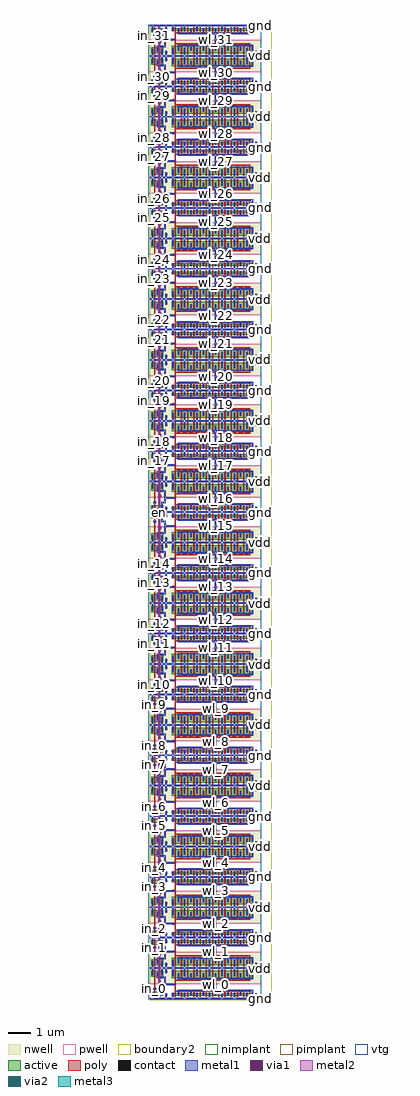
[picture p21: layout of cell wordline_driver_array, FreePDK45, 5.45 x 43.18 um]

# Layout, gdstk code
import gdstk
lib = gdstk.Library(unit=1e-6, precision=5e-10)
def R(c, l, rs):  # rectangles x0, y0, x1, y1
    for r in rs: c.add(gdstk.rectangle(r[:2], r[2:], *l))
def A(c, l, x, y, w, h, nx, ny, dx, dy):  # array of equal rectangles
    R(c, l, [(x+i*dx, y+j*dy, x+i*dx+w, y+j*dy+h) for i in range(nx) for j in range(ny)])
active = (1, 0)
pwell = (2, 0)
nwell = (3, 0)
nimplant = (4, 0)
pimplant = (5, 0)
vtg = (6, 0)
poly = (9, 0)
contact = (10, 0)
metal1 = (11, 0)
via1 = (12, 0)
metal2 = (13, 0)
via2 = (14, 0)
metal3 = (15, 0)
boundary2 = (239, 0)

contact_9 = lib.new_cell('contact_9')
R(contact_9, active, [(0,0.0225,0.09,0.1125)])
R(contact_9, nwell, [(-0.055,-0.0325,0.145,0.1675)])
R(contact_9, pimplant, [(0,0.0225,0.09,0.1125)])
R(contact_9, contact, [(0.0125,0.035,0.0775,0.1)])
R(contact_9, metal1, [(0.0125,0,0.0775,0.135)])
R(contact_9, boundary2, [(-0.055,-0.0325,0.145,0.1675)])

pmos_m1_w0_270_sm1_dm1 = lib.new_cell('pmos_m1_w0_270_sm1_dm1')
R(pmos_m1_w0_270_sm1_dm1, active, [(0,0,0.305,0.27)])
R(pmos_m1_w0_270_sm1_dm1, nwell, [(-0.08,-0.08,0.385,0.35)])
R(pmos_m1_w0_270_sm1_dm1, pimplant, [(0,0,0.305,0.27)])
R(pmos_m1_w0_270_sm1_dm1, vtg, [(-0.08,-0.08,0.385,0.35)])
R(pmos_m1_w0_270_sm1_dm1, poly, [(0.1275,-0.055,0.1775,0.325), (0.1275,-0.055,0.1775,0.325)])
R(pmos_m1_w0_270_sm1_dm1, metal1, [(0.0125,0.0675,0.0775,0.2025), (0.2275,0.0675,0.2925,0.2025)])
R(pmos_m1_w0_270_sm1_dm1, boundary2, [(-0.08,-0.08,0.385,0.35)])
pmos_m1_w0_270_sm1_dm1.add(gdstk.Reference(contact_9, (0,0.0675)))
pmos_m1_w0_270_sm1_dm1.add(gdstk.Reference(contact_9, (0.215,0.0675)))
pmos_m1_w0_270_sm1_dm1.add(gdstk.Label('G', (0.1525,0.135), layer=9, texttype=0))
pmos_m1_w0_270_sm1_dm1.add(gdstk.Label('S', (0.045,0.135), layer=11, texttype=0))
pmos_m1_w0_270_sm1_dm1.add(gdstk.Label('D', (0.26,0.135), layer=11, texttype=0))

contact_14 = lib.new_cell('contact_14')
R(contact_14, active, [(0,0.0225,0.09,0.1125)])
R(contact_14, pwell, [(-0.055,-0.0325,0.145,0.1675)])
R(contact_14, nimplant, [(0,0.0225,0.09,0.1125)])
R(contact_14, contact, [(0.0125,0.035,0.0775,0.1)])
R(contact_14, metal1, [(0.0125,0,0.0775,0.135)])
R(contact_14, boundary2, [(-0.055,-0.0325,0.145,0.1675)])

nmos_m1_w0_180_sm1_dacti = lib.new_cell('nmos_m1_w0_180_sm1_dactive')
R(nmos_m1_w0_180_sm1_dacti, active, [(0,0,0.305,0.18), (0.215,0.045,0.305,0.135)])
R(nmos_m1_w0_180_sm1_dacti, pwell, [(-0.08,-0.08,0.385,0.26)])
R(nmos_m1_w0_180_sm1_dacti, nimplant, [(0,0,0.305,0.18)])
R(nmos_m1_w0_180_sm1_dacti, vtg, [(-0.08,-0.08,0.385,0.26)])
R(nmos_m1_w0_180_sm1_dacti, poly, [(0.1275,-0.055,0.1775,0.235), (0.1275,-0.055,0.1775,0.235)])
R(nmos_m1_w0_180_sm1_dacti, metal1, [(0.0125,0.0225,0.0775,0.1575)])
R(nmos_m1_w0_180_sm1_dacti, boundary2, [(-0.08,-0.08,0.385,0.26)])
nmos_m1_w0_180_sm1_dacti.add(gdstk.Reference(contact_14, (0,0.0225)))
nmos_m1_w0_180_sm1_dacti.add(gdstk.Label('G', (0.1525,0.09), layer=9, texttype=0))
nmos_m1_w0_180_sm1_dacti.add(gdstk.Label('S', (0.045,0.09), layer=11, texttype=0))
nmos_m1_w0_180_sm1_dacti.add(gdstk.Label('D', (0.26,0.09), layer=1, texttype=0))

nmos_m1_w0_180_sactive_d = lib.new_cell('nmos_m1_w0_180_sactive_dm1')
R(nmos_m1_w0_180_sactive_d, active, [(0,0,0.305,0.18), (0,0.045,0.09,0.135)])
R(nmos_m1_w0_180_sactive_d, pwell, [(-0.08,-0.08,0.385,0.26)])
R(nmos_m1_w0_180_sactive_d, nimplant, [(0,0,0.305,0.18)])
R(nmos_m1_w0_180_sactive_d, vtg, [(-0.08,-0.08,0.385,0.26)])
R(nmos_m1_w0_180_sactive_d, poly, [(0.1275,-0.055,0.1775,0.235), (0.1275,-0.055,0.1775,0.235)])
R(nmos_m1_w0_180_sactive_d, metal1, [(0.2275,0.0225,0.2925,0.1575)])
R(nmos_m1_w0_180_sactive_d, boundary2, [(-0.08,-0.08,0.385,0.26)])
nmos_m1_w0_180_sactive_d.add(gdstk.Reference(contact_14, (0.215,0.0225)))
nmos_m1_w0_180_sactive_d.add(gdstk.Label('G', (0.1525,0.09), layer=9, texttype=0))
nmos_m1_w0_180_sactive_d.add(gdstk.Label('S', (0.045,0.09), layer=1, texttype=0))
nmos_m1_w0_180_sactive_d.add(gdstk.Label('D', (0.26,0.09), layer=11, texttype=0))

contact_18 = lib.new_cell('contact_18')
R(contact_18, active, [(0,0.0225,0.09,0.1125)])
R(contact_18, nwell, [(-0.055,-0.0325,0.145,0.1675)])
R(contact_18, nimplant, [(0,0.0225,0.09,0.1125)])
R(contact_18, contact, [(0.0125,0.035,0.0775,0.1)])
R(contact_18, metal1, [(0.0125,0,0.0775,0.135)])
R(contact_18, boundary2, [(-0.055,-0.0325,0.145,0.1675)])

contact_19 = lib.new_cell('contact_19')
R(contact_19, active, [(0,0.0225,0.09,0.1125)])
R(contact_19, pwell, [(-0.055,-0.0325,0.145,0.1675)])
R(contact_19, pimplant, [(0,0.0225,0.09,0.1125)])
R(contact_19, contact, [(0.0125,0.035,0.0775,0.1)])
R(contact_19, metal1, [(0.0125,0,0.0775,0.135)])
R(contact_19, boundary2, [(-0.055,-0.0325,0.145,0.1675)])

contact_10 = lib.new_cell('contact_10')
R(contact_10, poly, [(0.03,0,0.105,0.075)])
R(contact_10, contact, [(0.035,0.005,0.1,0.07)])
R(contact_10, metal1, [(0,0.005,0.135,0.07)])
R(contact_10, boundary2, [(0,0,0.135,0.075)])

pnand2 = lib.new_cell('pnand2')
R(pnand2, pwell, [(-0.055,-0.0325,0.9575,0.645)])
R(pnand2, nwell, [(-0.055,0.645,0.9575,1.38)])
R(pnand2, vtg, [(-0.055,-0.0325,0.9575,0.645), (-0.055,0.645,0.9575,1.38)])
R(pnand2, poly, [(0.2075,0.36,0.2575,0.895), (0.4225,0.36,0.4725,0.895), (0.2075,0.39,0.2325,0.465), (0.4225,0.67,0.4475,0.745)])
R(pnand2, metal1, [(0,-0.0325,0.9025,0.0325), (0.0925,-0.0325,0.1575,0.1475), (0.6925,0,0.7575,0.17), (0.5225,0.2825,0.5875,0.4125), (0.5225,0.38,0.5875,0.445), (0.555,0.38,0.685,0.445), (0.6525,0.38,0.7175,0.445), (0.165,0.395,0.3,0.46), (0.6525,0.4125,0.7175,0.92), (0.38,0.675,0.515,0.74), (0.3075,0.8875,0.3725,0.9525), (0.34,0.8875,0.685,0.9525), (0.6525,0.8875,0.7175,0.9525), (0.3075,0.92,0.3725,1.0175), (0.0925,1.0175,0.1575,1.3775), (0.5225,1.0175,0.5875,1.3775), (0.6925,1.175,0.7575,1.345), (0,1.3125,0.9025,1.3775)])
R(pnand2, boundary2, [(0,0,0.9025,1.345), (0,0,0.9025,1.345)])
pnand2.add(gdstk.Reference(pmos_m1_w0_270_sm1_dm1, (0.08,0.95)))
pnand2.add(gdstk.Reference(pmos_m1_w0_270_sm1_dm1, (0.295,0.95)))
pnand2.add(gdstk.Reference(nmos_m1_w0_180_sm1_dacti, (0.08,0.125)))
pnand2.add(gdstk.Reference(nmos_m1_w0_180_sactive_d, (0.295,0.125)))
pnand2.add(gdstk.Reference(contact_18, (0.68,1.1075)))
pnand2.add(gdstk.Reference(contact_19, (0.68,0.1025)))
pnand2.add(gdstk.Reference(contact_10, (0.165,0.39)))
pnand2.add(gdstk.Reference(contact_10, (0.38,0.67)))
pnand2.add(gdstk.Label('Z', (0.685,0.92), layer=11, texttype=0))
pnand2.add(gdstk.Label('gnd', (0.451,0), layer=11, texttype=0))
pnand2.add(gdstk.Label('vdd', (0.451,1.345), layer=11, texttype=0))
pnand2.add(gdstk.Label('A', (0.2325,0.4275), layer=11, texttype=0))
pnand2.add(gdstk.Label('B', (0.4475,0.7075), layer=11, texttype=0))

pmos_m13_w0_333_sm1_dm1_ = lib.new_cell('pmos_m13_w0_333_sm1_dm1_da_p')
R(pmos_m13_w0_333_sm1_dm1_, active, [(0,0,3.605,0.3325)])
R(pmos_m13_w0_333_sm1_dm1_, nwell, [(-0.08,-0.08,3.685,0.4125)])
R(pmos_m13_w0_333_sm1_dm1_, pimplant, [(0,0,3.605,0.3325)])
R(pmos_m13_w0_333_sm1_dm1_, vtg, [(-0.08,-0.08,3.685,0.4125)])
A(pmos_m13_w0_333_sm1_dm1_, poly, 0.1275, -0.055, 0.05, 0.4425, 13, 1, 0.275, 0)
R(pmos_m13_w0_333_sm1_dm1_, poly, [(0.1275,-0.105,3.4775,-0.055)])
A(pmos_m13_w0_333_sm1_dm1_, metal1, 0.2575, 0, 0.065, 0.165, 6, 1, 0.55, 0)
A(pmos_m13_w0_333_sm1_dm1_, metal1, 0.5325, 0.1, 0.065, 0.135, 6, 1, 0.55, 0)
R(pmos_m13_w0_333_sm1_dm1_, metal1, [(0.2575,-0.03,3.5925,0.035), (3.5275,0,3.5925,0.165), (0.0125,0.1,0.0775,0.235)])
R(pmos_m13_w0_333_sm1_dm1_, boundary2, [(-0.08,-0.08,3.685,0.4125)])
pmos_m13_w0_333_sm1_dm1_.add(gdstk.Reference(contact_9, (0,0.1)))
pmos_m13_w0_333_sm1_dm1_.add(gdstk.Reference(contact_9, (0.245,0.1)))
pmos_m13_w0_333_sm1_dm1_.add(gdstk.Reference(contact_9, (0.52,0.1)))
pmos_m13_w0_333_sm1_dm1_.add(gdstk.Reference(contact_9, (0.795,0.1)))
pmos_m13_w0_333_sm1_dm1_.add(gdstk.Reference(contact_9, (1.07,0.1)))
pmos_m13_w0_333_sm1_dm1_.add(gdstk.Reference(contact_9, (1.345,0.1)))
pmos_m13_w0_333_sm1_dm1_.add(gdstk.Reference(contact_9, (1.62,0.1)))
pmos_m13_w0_333_sm1_dm1_.add(gdstk.Reference(contact_9, (1.895,0.1)))
pmos_m13_w0_333_sm1_dm1_.add(gdstk.Reference(contact_9, (2.17,0.1)))
pmos_m13_w0_333_sm1_dm1_.add(gdstk.Reference(contact_9, (2.445,0.1)))
pmos_m13_w0_333_sm1_dm1_.add(gdstk.Reference(contact_9, (2.72,0.1)))
pmos_m13_w0_333_sm1_dm1_.add(gdstk.Reference(contact_9, (2.995,0.1)))
pmos_m13_w0_333_sm1_dm1_.add(gdstk.Reference(contact_9, (3.27,0.1)))
pmos_m13_w0_333_sm1_dm1_.add(gdstk.Reference(contact_9, (3.515,0.1)))
pmos_m13_w0_333_sm1_dm1_.add(gdstk.Label('G', (1.8025,-0.08), layer=9, texttype=0))
pmos_m13_w0_333_sm1_dm1_.add(gdstk.Label('S', (0.045,0.1675), layer=11, texttype=0))
pmos_m13_w0_333_sm1_dm1_.add(gdstk.Label('S', (1.665,0.1675), layer=11, texttype=0))
pmos_m13_w0_333_sm1_dm1_.add(gdstk.Label('S', (2.765,0.1675), layer=11, texttype=0))
pmos_m13_w0_333_sm1_dm1_.add(gdstk.Label('S', (2.215,0.1675), layer=11, texttype=0))
pmos_m13_w0_333_sm1_dm1_.add(gdstk.Label('S', (0.565,0.1675), layer=11, texttype=0))
pmos_m13_w0_333_sm1_dm1_.add(gdstk.Label('S', (1.115,0.1675), layer=11, texttype=0))
pmos_m13_w0_333_sm1_dm1_.add(gdstk.Label('S', (3.315,0.1675), layer=11, texttype=0))
pmos_m13_w0_333_sm1_dm1_.add(gdstk.Label('D', (1.925,0.0025), layer=11, texttype=0))

nmos_m13_w0_110_sm1_dm1_ = lib.new_cell('nmos_m13_w0_110_sm1_dm1_da_p')
R(nmos_m13_w0_110_sm1_dm1_, active, [(0,0,3.605,0.11)])
R(nmos_m13_w0_110_sm1_dm1_, pwell, [(-0.08,-0.08,3.685,0.19)])
R(nmos_m13_w0_110_sm1_dm1_, nimplant, [(0,0,3.605,0.11)])
R(nmos_m13_w0_110_sm1_dm1_, vtg, [(-0.08,-0.08,3.685,0.19)])
A(nmos_m13_w0_110_sm1_dm1_, poly, 0.1275, -0.055, 0.05, 0.22, 13, 1, 0.275, 0)
R(nmos_m13_w0_110_sm1_dm1_, poly, [(0.1275,0.165,3.4775,0.215)])
A(nmos_m13_w0_110_sm1_dm1_, metal1, 0.5325, -0.0125, 0.065, 0.135, 6, 1, 0.55, 0)
A(nmos_m13_w0_110_sm1_dm1_, metal1, 0.2575, 0.055, 0.065, 0.165, 6, 1, 0.55, 0)
R(nmos_m13_w0_110_sm1_dm1_, metal1, [(0.0125,-0.0125,0.0775,0.1225), (3.5275,0.055,3.5925,0.22), (0.2575,0.1875,3.5925,0.2525)])
R(nmos_m13_w0_110_sm1_dm1_, boundary2, [(-0.08,-0.08,3.685,0.22)])
nmos_m13_w0_110_sm1_dm1_.add(gdstk.Reference(contact_14, (0,-0.0125)))
nmos_m13_w0_110_sm1_dm1_.add(gdstk.Reference(contact_14, (0.245,-0.0125)))
nmos_m13_w0_110_sm1_dm1_.add(gdstk.Reference(contact_14, (0.52,-0.0125)))
nmos_m13_w0_110_sm1_dm1_.add(gdstk.Reference(contact_14, (0.795,-0.0125)))
nmos_m13_w0_110_sm1_dm1_.add(gdstk.Reference(contact_14, (1.07,-0.0125)))
nmos_m13_w0_110_sm1_dm1_.add(gdstk.Reference(contact_14, (1.345,-0.0125)))
nmos_m13_w0_110_sm1_dm1_.add(gdstk.Reference(contact_14, (1.62,-0.0125)))
nmos_m13_w0_110_sm1_dm1_.add(gdstk.Reference(contact_14, (1.895,-0.0125)))
nmos_m13_w0_110_sm1_dm1_.add(gdstk.Reference(contact_14, (2.17,-0.0125)))
nmos_m13_w0_110_sm1_dm1_.add(gdstk.Reference(contact_14, (2.445,-0.0125)))
nmos_m13_w0_110_sm1_dm1_.add(gdstk.Reference(contact_14, (2.72,-0.0125)))
nmos_m13_w0_110_sm1_dm1_.add(gdstk.Reference(contact_14, (2.995,-0.0125)))
nmos_m13_w0_110_sm1_dm1_.add(gdstk.Reference(contact_14, (3.27,-0.0125)))
nmos_m13_w0_110_sm1_dm1_.add(gdstk.Reference(contact_14, (3.515,-0.0125)))
nmos_m13_w0_110_sm1_dm1_.add(gdstk.Label('G', (1.8025,0.19), layer=9, texttype=0))
nmos_m13_w0_110_sm1_dm1_.add(gdstk.Label('S', (2.215,0.055), layer=11, texttype=0))
nmos_m13_w0_110_sm1_dm1_.add(gdstk.Label('S', (3.315,0.055), layer=11, texttype=0))
nmos_m13_w0_110_sm1_dm1_.add(gdstk.Label('S', (1.115,0.055), layer=11, texttype=0))
nmos_m13_w0_110_sm1_dm1_.add(gdstk.Label('S', (0.565,0.055), layer=11, texttype=0))
nmos_m13_w0_110_sm1_dm1_.add(gdstk.Label('S', (2.765,0.055), layer=11, texttype=0))
nmos_m13_w0_110_sm1_dm1_.add(gdstk.Label('S', (0.045,0.055), layer=11, texttype=0))
nmos_m13_w0_110_sm1_dm1_.add(gdstk.Label('S', (1.665,0.055), layer=11, texttype=0))
nmos_m13_w0_110_sm1_dm1_.add(gdstk.Label('D', (1.925,0.22), layer=11, texttype=0))

pinv_0 = lib.new_cell('pinv_0')
R(pinv_0, pwell, [(-0.055,-0.0325,4.0425,0.645)])
R(pinv_0, nwell, [(-0.055,0.645,4.0425,1.38)])
R(pinv_0, vtg, [(-0.055,-0.0325,4.0425,0.645), (-0.055,0.645,4.0425,1.38)])
R(pinv_0, poly, [(0.2075,0.34,0.2575,0.7825), (0.14,0.58,0.2075,0.655)])
A(pinv_0, metal1, 0.6125, -0.0325, 0.065, 0.145, 6, 1, 0.55, 0)
A(pinv_0, metal1, 0.6125, 0.9875, 0.065, 0.39, 6, 1, 0.55, 0)
R(pinv_0, metal1, [(0,-0.0325,3.9875,0.0325), (0.0925,-0.0325,0.1575,0.1125), (3.7775,0,3.8425,0.17), (1.9725,0.3125,2.0375,0.9225), (0.0725,0.585,0.2075,0.65), (2.005,0.585,2.07,0.65), (0.0925,0.9875,0.1575,1.3775), (3.7775,1.175,3.8425,1.345), (0,1.3125,3.9875,1.3775)])
R(pinv_0, boundary2, [(0,0,3.9875,1.345), (0,0,3.9875,1.345)])
pinv_0.add(gdstk.Reference(pmos_m13_w0_333_sm1_dm1_, (0.08,0.8875)))
pinv_0.add(gdstk.Reference(nmos_m13_w0_110_sm1_dm1_, (0.08,0.125)))
pinv_0.add(gdstk.Reference(contact_18, (3.765,1.1075)))
pinv_0.add(gdstk.Reference(contact_19, (3.765,0.1025)))
pinv_0.add(gdstk.Reference(contact_10, (0.0725,0.58)))
pinv_0.add(gdstk.Label('A', (0.14,0.6175), layer=11, texttype=0))
pinv_0.add(gdstk.Label('Z', (2.0375,0.6175), layer=11, texttype=0))
pinv_0.add(gdstk.Label('gnd', (1.994,0), layer=11, texttype=0))
pinv_0.add(gdstk.Label('vdd', (1.994,1.345), layer=11, texttype=0))

wordline_driver = lib.new_cell('wordline_driver')
R(wordline_driver, metal1, [(0,-0.0325,4.89,0.0325), (0.165,0.395,0.3,0.46), (0.6525,0.585,0.7175,0.65), (0.685,0.585,1.0425,0.65), (2.9075,0.585,2.9725,0.65), (0.6525,0.6175,0.7175,0.92), (0.38,0.675,0.515,0.74), (0,1.3125,4.89,1.3775)])
R(wordline_driver, boundary2, [(0,0,4.89,1.345)])
wordline_driver.add(gdstk.Reference(pnand2, (0,0)))
wordline_driver.add(gdstk.Reference(pinv_0, (0.9025,0)))
wordline_driver.add(gdstk.Label('Z', (2.94,0.6175), layer=11, texttype=0))
wordline_driver.add(gdstk.Label('A', (0.2325,0.4275), layer=11, texttype=0))
wordline_driver.add(gdstk.Label('B', (0.4475,0.7075), layer=11, texttype=0))
wordline_driver.add(gdstk.Label('gnd', (2.445,0), layer=11, texttype=0))
wordline_driver.add(gdstk.Label('vdd', (2.445,1.345), layer=11, texttype=0))

contact_6 = lib.new_cell('contact_6')
R(contact_6, metal1, [(0,0.035,0.135,0.1)])
R(contact_6, via1, [(0.035,0.035,0.1,0.1)])
R(contact_6, metal2, [(0.0325,0,0.1025,0.135)])
R(contact_6, boundary2, [(0,0,0.135,0.135)])

contact_7 = lib.new_cell('contact_7')
R(contact_7, metal2, [(0.0325,0,0.1025,0.135)])
R(contact_7, via2, [(0.035,0.035,0.1,0.1)])
R(contact_7, metal3, [(0,0.0325,0.135,0.1025)])
R(contact_7, boundary2, [(0,0,0.135,0.135)])

wordline_driver_array = lib.new_cell('wordline_driver_array')
R(wordline_driver_array, metal1, [(0.165,0.4625,0.3,0.5275), (2.9075,0.6525,2.9725,0.7175), (2.9075,2.1075,2.9725,2.1725), (0.165,2.2975,0.3,2.3625), (0.165,3.1525,0.3,3.2175), (2.9075,3.3425,2.9725,3.4075), (2.9075,4.7975,2.9725,4.8625), (0.165,4.9875,0.3,5.0525), (0.165,5.8425,0.3,5.9075), (2.9075,6.0325,2.9725,6.0975), (2.9075,7.4875,2.9725,7.5525), (0.165,7.6775,0.3,7.7425), (0.165,8.5325,0.3,8.5975), (2.9075,8.7225,2.9725,8.7875), (2.9075,10.1775,2.9725,10.2425), (0.165,10.3675,0.3,10.4325), (0.165,11.2225,0.3,11.2875), (2.9075,11.4125,2.9725,11.4775), (2.9075,12.8675,2.9725,12.9325), (0.165,13.0575,0.3,13.1225), (0.165,13.9125,0.3,13.9775), (2.9075,14.1025,2.9725,14.1675), (2.9075,15.5575,2.9725,15.6225), (0.165,15.7475,0.3,15.8125), (0.165,16.6025,0.3,16.6675), (2.9075,16.7925,2.9725,16.8575), (2.9075,18.2475,2.9725,18.3125), (0.165,18.4375,0.3,18.5025), (0.165,19.2925,0.3,19.3575), (2.9075,19.4825,2.9725,19.5475), (2.9075,20.9375,2.9725,21.0025), (0.165,21.1275,0.3,21.1925), (0.165,21.9825,0.3,22.0475), (2.9075,22.1725,2.9725,22.2375), (2.9075,23.6275,2.9725,23.6925), (0.165,23.8175,0.3,23.8825), (0.165,24.6725,0.3,24.7375), (2.9075,24.8625,2.9725,24.9275), (2.9075,26.3175,2.9725,26.3825), (0.165,26.5075,0.3,26.5725), (0.165,27.3625,0.3,27.4275), (2.9075,27.5525,2.9725,27.6175), (2.9075,29.0075,2.9725,29.0725), (0.165,29.1975,0.3,29.2625), (0.165,30.0525,0.3,30.1175), (2.9075,30.2425,2.9725,30.3075), (2.9075,31.6975,2.9725,31.7625), (0.165,31.8875,0.3,31.9525), (0.165,32.7425,0.3,32.8075), (2.9075,32.9325,2.9725,32.9975), (2.9075,34.3875,2.9725,34.4525), (0.165,34.5775,0.3,34.6425), (0.165,35.4325,0.3,35.4975), (2.9075,35.6225,2.9725,35.6875), (2.9075,37.0775,2.9725,37.1425), (0.165,37.2675,0.3,37.3325), (0.165,38.1225,0.3,38.1875), (2.9075,38.3125,2.9725,38.3775), (2.9075,39.7675,2.9725,39.8325), (0.165,39.9575,0.3,40.0225), (0.165,40.8125,0.3,40.8775), (2.9075,41.0025,2.9725,41.0675), (2.9075,42.4575,2.9725,42.5225), (0.165,42.6475,0.3,42.7125)])
R(wordline_driver_array, metal2, [(0.38,0.0675,0.45,43.1075)])
A(wordline_driver_array, metal3, 4.8225, 0, 0.135, 0.135, 1, 6, 0, 1.345)
A(wordline_driver_array, metal3, 4.8225, 6.725, 0.135, 0.135, 1, 11, 0, 1.345)
A(wordline_driver_array, metal3, 4.8225, 20.175, 0.135, 0.135, 1, 7, 0, 1.345)
A(wordline_driver_array, metal3, 4.8225, 28.245, 0.135, 0.135, 1, 7, 0, 1.345)
A(wordline_driver_array, metal3, 4.8225, 36.315, 0.135, 0.135, 1, 6, 0, 1.345)
R(wordline_driver_array, boundary2, [(0,0,5.395,43.04)])
wordline_driver_array.add(gdstk.Reference(wordline_driver, (0,0.0675)))
wordline_driver_array.add(gdstk.Reference(wordline_driver, (0,2.7575), x_reflection=True))
wordline_driver_array.add(gdstk.Reference(wordline_driver, (0,2.7575)))
wordline_driver_array.add(gdstk.Reference(wordline_driver, (0,5.4475), x_reflection=True))
wordline_driver_array.add(gdstk.Reference(wordline_driver, (0,5.4475)))
wordline_driver_array.add(gdstk.Reference(wordline_driver, (0,8.1375), x_reflection=True))
wordline_driver_array.add(gdstk.Reference(wordline_driver, (0,8.1375)))
wordline_driver_array.add(gdstk.Reference(wordline_driver, (0,10.8275), x_reflection=True))
wordline_driver_array.add(gdstk.Reference(wordline_driver, (0,10.8275)))
wordline_driver_array.add(gdstk.Reference(wordline_driver, (0,13.5175), x_reflection=True))
wordline_driver_array.add(gdstk.Reference(wordline_driver, (0,13.5175)))
wordline_driver_array.add(gdstk.Reference(wordline_driver, (0,16.2075), x_reflection=True))
wordline_driver_array.add(gdstk.Reference(wordline_driver, (0,16.2075)))
wordline_driver_array.add(gdstk.Reference(wordline_driver, (0,18.8975), x_reflection=True))
wordline_driver_array.add(gdstk.Reference(wordline_driver, (0,18.8975)))
wordline_driver_array.add(gdstk.Reference(wordline_driver, (0,21.5875), x_reflection=True))
wordline_driver_array.add(gdstk.Reference(wordline_driver, (0,21.5875)))
wordline_driver_array.add(gdstk.Reference(wordline_driver, (0,24.2775), x_reflection=True))
wordline_driver_array.add(gdstk.Reference(wordline_driver, (0,24.2775)))
wordline_driver_array.add(gdstk.Reference(wordline_driver, (0,26.9675), x_reflection=True))
wordline_driver_array.add(gdstk.Reference(wordline_driver, (0,26.9675)))
wordline_driver_array.add(gdstk.Reference(wordline_driver, (0,29.6575), x_reflection=True))
wordline_driver_array.add(gdstk.Reference(wordline_driver, (0,29.6575)))
wordline_driver_array.add(gdstk.Reference(wordline_driver, (0,32.3475), x_reflection=True))
wordline_driver_array.add(gdstk.Reference(wordline_driver, (0,32.3475)))
wordline_driver_array.add(gdstk.Reference(wordline_driver, (0,35.0375), x_reflection=True))
wordline_driver_array.add(gdstk.Reference(wordline_driver, (0,35.0375)))
wordline_driver_array.add(gdstk.Reference(wordline_driver, (0,37.7275), x_reflection=True))
wordline_driver_array.add(gdstk.Reference(wordline_driver, (0,37.7275)))
wordline_driver_array.add(gdstk.Reference(wordline_driver, (0,40.4175), x_reflection=True))
wordline_driver_array.add(gdstk.Reference(wordline_driver, (0,40.4175)))
wordline_driver_array.add(gdstk.Reference(wordline_driver, (0,43.1075), x_reflection=True))
wordline_driver_array.add(gdstk.Reference(contact_6, (0.38,0.7075)))
wordline_driver_array.add(gdstk.Reference(contact_6, (0.38,1.9825)))
wordline_driver_array.add(gdstk.Reference(contact_6, (0.38,3.3975)))
wordline_driver_array.add(gdstk.Reference(contact_6, (0.38,4.6725)))
wordline_driver_array.add(gdstk.Reference(contact_6, (0.38,6.0875)))
wordline_driver_array.add(gdstk.Reference(contact_6, (0.38,7.3625)))
wordline_driver_array.add(gdstk.Reference(contact_6, (0.38,8.7775)))
wordline_driver_array.add(gdstk.Reference(contact_6, (0.38,10.0525)))
wordline_driver_array.add(gdstk.Reference(contact_6, (0.38,11.4675)))
wordline_driver_array.add(gdstk.Reference(contact_6, (0.38,12.7425)))
wordline_driver_array.add(gdstk.Reference(contact_6, (0.38,14.1575)))
wordline_driver_array.add(gdstk.Reference(contact_6, (0.38,15.4325)))
wordline_driver_array.add(gdstk.Reference(contact_6, (0.38,16.8475)))
wordline_driver_array.add(gdstk.Reference(contact_6, (0.38,18.1225)))
wordline_driver_array.add(gdstk.Reference(contact_6, (0.38,19.5375)))
wordline_driver_array.add(gdstk.Reference(contact_6, (0.38,20.8125)))
wordline_driver_array.add(gdstk.Reference(contact_6, (0.38,22.2275)))
wordline_driver_array.add(gdstk.Reference(contact_6, (0.38,23.5025)))
wordline_driver_array.add(gdstk.Reference(contact_6, (0.38,24.9175)))
wordline_driver_array.add(gdstk.Reference(contact_6, (0.38,26.1925)))
wordline_driver_array.add(gdstk.Reference(contact_6, (0.38,27.6075)))
wordline_driver_array.add(gdstk.Reference(contact_6, (0.38,28.8825)))
wordline_driver_array.add(gdstk.Reference(contact_6, (0.38,30.2975)))
wordline_driver_array.add(gdstk.Reference(contact_6, (0.38,31.5725)))
wordline_driver_array.add(gdstk.Reference(contact_6, (0.38,32.9875)))
wordline_driver_array.add(gdstk.Reference(contact_6, (0.38,34.2625)))
wordline_driver_array.add(gdstk.Reference(contact_6, (0.38,35.6775)))
wordline_driver_array.add(gdstk.Reference(contact_6, (0.38,36.9525)))
wordline_driver_array.add(gdstk.Reference(contact_6, (0.38,38.3675)))
wordline_driver_array.add(gdstk.Reference(contact_6, (0.38,39.6425)))
wordline_driver_array.add(gdstk.Reference(contact_6, (0.38,41.0575)))
wordline_driver_array.add(gdstk.Reference(contact_6, (0.38,42.3325)))
wordline_driver_array.add(gdstk.Reference(contact_6, (4.8225,1.345)))
wordline_driver_array.add(gdstk.Reference(contact_7, (4.8225,1.345)))
wordline_driver_array.add(gdstk.Reference(contact_6, (4.8225,0)))
wordline_driver_array.add(gdstk.Reference(contact_7, (4.8225,0)))
wordline_driver_array.add(gdstk.Reference(contact_6, (4.8225,1.345)))
wordline_driver_array.add(gdstk.Reference(contact_7, (4.8225,1.345)))
wordline_driver_array.add(gdstk.Reference(contact_6, (4.8225,2.69)))
wordline_driver_array.add(gdstk.Reference(contact_7, (4.8225,2.69)))
wordline_driver_array.add(gdstk.Reference(contact_6, (4.8225,4.035)))
wordline_driver_array.add(gdstk.Reference(contact_7, (4.8225,4.035)))
wordline_driver_array.add(gdstk.Reference(contact_6, (4.8225,2.69)))
wordline_driver_array.add(gdstk.Reference(contact_7, (4.8225,2.69)))
wordline_driver_array.add(gdstk.Reference(contact_6, (4.8225,4.035)))
wordline_driver_array.add(gdstk.Reference(contact_7, (4.8225,4.035)))
wordline_driver_array.add(gdstk.Reference(contact_6, (4.8225,5.38)))
wordline_driver_array.add(gdstk.Reference(contact_7, (4.8225,5.38)))
wordline_driver_array.add(gdstk.Reference(contact_6, (4.8225,6.725)))
wordline_driver_array.add(gdstk.Reference(contact_7, (4.8225,6.725)))
wordline_driver_array.add(gdstk.Reference(contact_6, (4.8225,5.38)))
wordline_driver_array.add(gdstk.Reference(contact_7, (4.8225,5.38)))
wordline_driver_array.add(gdstk.Reference(contact_6, (4.8225,6.725)))
wordline_driver_array.add(gdstk.Reference(contact_7, (4.8225,6.725)))
wordline_driver_array.add(gdstk.Reference(contact_6, (4.8225,8.07)))
wordline_driver_array.add(gdstk.Reference(contact_7, (4.8225,8.07)))
wordline_driver_array.add(gdstk.Reference(contact_6, (4.8225,9.415)))
wordline_driver_array.add(gdstk.Reference(contact_7, (4.8225,9.415)))
wordline_driver_array.add(gdstk.Reference(contact_6, (4.8225,8.07)))
wordline_driver_array.add(gdstk.Reference(contact_7, (4.8225,8.07)))
wordline_driver_array.add(gdstk.Reference(contact_6, (4.8225,9.415)))
wordline_driver_array.add(gdstk.Reference(contact_7, (4.8225,9.415)))
wordline_driver_array.add(gdstk.Reference(contact_6, (4.8225,10.76)))
wordline_driver_array.add(gdstk.Reference(contact_7, (4.8225,10.76)))
wordline_driver_array.add(gdstk.Reference(contact_6, (4.8225,12.105)))
wordline_driver_array.add(gdstk.Reference(contact_7, (4.8225,12.105)))
wordline_driver_array.add(gdstk.Reference(contact_6, (4.8225,10.76)))
wordline_driver_array.add(gdstk.Reference(contact_7, (4.8225,10.76)))
wordline_driver_array.add(gdstk.Reference(contact_6, (4.8225,12.105)))
wordline_driver_array.add(gdstk.Reference(contact_7, (4.8225,12.105)))
wordline_driver_array.add(gdstk.Reference(contact_6, (4.8225,13.45)))
wordline_driver_array.add(gdstk.Reference(contact_7, (4.8225,13.45)))
wordline_driver_array.add(gdstk.Reference(contact_6, (4.8225,14.795)))
wordline_driver_array.add(gdstk.Reference(contact_7, (4.8225,14.795)))
wordline_driver_array.add(gdstk.Reference(contact_6, (4.8225,13.45)))
wordline_driver_array.add(gdstk.Reference(contact_7, (4.8225,13.45)))
wordline_driver_array.add(gdstk.Reference(contact_6, (4.8225,14.795)))
wordline_driver_array.add(gdstk.Reference(contact_7, (4.8225,14.795)))
wordline_driver_array.add(gdstk.Reference(contact_6, (4.8225,16.14)))
wordline_driver_array.add(gdstk.Reference(contact_7, (4.8225,16.14)))
wordline_driver_array.add(gdstk.Reference(contact_6, (4.8225,17.485)))
wordline_driver_array.add(gdstk.Reference(contact_7, (4.8225,17.485)))
wordline_driver_array.add(gdstk.Reference(contact_6, (4.8225,16.14)))
wordline_driver_array.add(gdstk.Reference(contact_7, (4.8225,16.14)))
wordline_driver_array.add(gdstk.Reference(contact_6, (4.8225,17.485)))
wordline_driver_array.add(gdstk.Reference(contact_7, (4.8225,17.485)))
wordline_driver_array.add(gdstk.Reference(contact_6, (4.8225,18.83)))
wordline_driver_array.add(gdstk.Reference(contact_7, (4.8225,18.83)))
wordline_driver_array.add(gdstk.Reference(contact_6, (4.8225,20.175)))
wordline_driver_array.add(gdstk.Reference(contact_7, (4.8225,20.175)))
wordline_driver_array.add(gdstk.Reference(contact_6, (4.8225,18.83)))
wordline_driver_array.add(gdstk.Reference(contact_7, (4.8225,18.83)))
wordline_driver_array.add(gdstk.Reference(contact_6, (4.8225,20.175)))
wordline_driver_array.add(gdstk.Reference(contact_7, (4.8225,20.175)))
wordline_driver_array.add(gdstk.Reference(contact_6, (4.8225,21.52)))
wordline_driver_array.add(gdstk.Reference(contact_7, (4.8225,21.52)))
wordline_driver_array.add(gdstk.Reference(contact_6, (4.8225,22.865)))
wordline_driver_array.add(gdstk.Reference(contact_7, (4.8225,22.865)))
wordline_driver_array.add(gdstk.Reference(contact_6, (4.8225,21.52)))
wordline_driver_array.add(gdstk.Reference(contact_7, (4.8225,21.52)))
wordline_driver_array.add(gdstk.Reference(contact_6, (4.8225,22.865)))
wordline_driver_array.add(gdstk.Reference(contact_7, (4.8225,22.865)))
wordline_driver_array.add(gdstk.Reference(contact_6, (4.8225,24.21)))
wordline_driver_array.add(gdstk.Reference(contact_7, (4.8225,24.21)))
wordline_driver_array.add(gdstk.Reference(contact_6, (4.8225,25.555)))
wordline_driver_array.add(gdstk.Reference(contact_7, (4.8225,25.555)))
wordline_driver_array.add(gdstk.Reference(contact_6, (4.8225,24.21)))
wordline_driver_array.add(gdstk.Reference(contact_7, (4.8225,24.21)))
wordline_driver_array.add(gdstk.Reference(contact_6, (4.8225,25.555)))
wordline_driver_array.add(gdstk.Reference(contact_7, (4.8225,25.555)))
wordline_driver_array.add(gdstk.Reference(contact_6, (4.8225,26.9)))
wordline_driver_array.add(gdstk.Reference(contact_7, (4.8225,26.9)))
wordline_driver_array.add(gdstk.Reference(contact_6, (4.8225,28.245)))
wordline_driver_array.add(gdstk.Reference(contact_7, (4.8225,28.245)))
wordline_driver_array.add(gdstk.Reference(contact_6, (4.8225,26.9)))
wordline_driver_array.add(gdstk.Reference(contact_7, (4.8225,26.9)))
wordline_driver_array.add(gdstk.Reference(contact_6, (4.8225,28.245)))
wordline_driver_array.add(gdstk.Reference(contact_7, (4.8225,28.245)))
wordline_driver_array.add(gdstk.Reference(contact_6, (4.8225,29.59)))
wordline_driver_array.add(gdstk.Reference(contact_7, (4.8225,29.59)))
wordline_driver_array.add(gdstk.Reference(contact_6, (4.8225,30.935)))
wordline_driver_array.add(gdstk.Reference(contact_7, (4.8225,30.935)))
wordline_driver_array.add(gdstk.Reference(contact_6, (4.8225,29.59)))
wordline_driver_array.add(gdstk.Reference(contact_7, (4.8225,29.59)))
wordline_driver_array.add(gdstk.Reference(contact_6, (4.8225,30.935)))
wordline_driver_array.add(gdstk.Reference(contact_7, (4.8225,30.935)))
wordline_driver_array.add(gdstk.Reference(contact_6, (4.8225,32.28)))
wordline_driver_array.add(gdstk.Reference(contact_7, (4.8225,32.28)))
wordline_driver_array.add(gdstk.Reference(contact_6, (4.8225,33.625)))
wordline_driver_array.add(gdstk.Reference(contact_7, (4.8225,33.625)))
wordline_driver_array.add(gdstk.Reference(contact_6, (4.8225,32.28)))
wordline_driver_array.add(gdstk.Reference(contact_7, (4.8225,32.28)))
wordline_driver_array.add(gdstk.Reference(contact_6, (4.8225,33.625)))
wordline_driver_array.add(gdstk.Reference(contact_7, (4.8225,33.625)))
wordline_driver_array.add(gdstk.Reference(contact_6, (4.8225,34.97)))
wordline_driver_array.add(gdstk.Reference(contact_7, (4.8225,34.97)))
wordline_driver_array.add(gdstk.Reference(contact_6, (4.8225,36.315)))
wordline_driver_array.add(gdstk.Reference(contact_7, (4.8225,36.315)))
wordline_driver_array.add(gdstk.Reference(contact_6, (4.8225,34.97)))
wordline_driver_array.add(gdstk.Reference(contact_7, (4.8225,34.97)))
wordline_driver_array.add(gdstk.Reference(contact_6, (4.8225,36.315)))
wordline_driver_array.add(gdstk.Reference(contact_7, (4.8225,36.315)))
wordline_driver_array.add(gdstk.Reference(contact_6, (4.8225,37.66)))
wordline_driver_array.add(gdstk.Reference(contact_7, (4.8225,37.66)))
wordline_driver_array.add(gdstk.Reference(contact_6, (4.8225,39.005)))
wordline_driver_array.add(gdstk.Reference(contact_7, (4.8225,39.005)))
wordline_driver_array.add(gdstk.Reference(contact_6, (4.8225,37.66)))
wordline_driver_array.add(gdstk.Reference(contact_7, (4.8225,37.66)))
wordline_driver_array.add(gdstk.Reference(contact_6, (4.8225,39.005)))
wordline_driver_array.add(gdstk.Reference(contact_7, (4.8225,39.005)))
wordline_driver_array.add(gdstk.Reference(contact_6, (4.8225,40.35)))
wordline_driver_array.add(gdstk.Reference(contact_7, (4.8225,40.35)))
wordline_driver_array.add(gdstk.Reference(contact_6, (4.8225,41.695)))
wordline_driver_array.add(gdstk.Reference(contact_7, (4.8225,41.695)))
wordline_driver_array.add(gdstk.Reference(contact_6, (4.8225,40.35)))
wordline_driver_array.add(gdstk.Reference(contact_7, (4.8225,40.35)))
wordline_driver_array.add(gdstk.Reference(contact_6, (4.8225,41.695)))
wordline_driver_array.add(gdstk.Reference(contact_7, (4.8225,41.695)))
wordline_driver_array.add(gdstk.Reference(contact_6, (4.8225,43.04)))
wordline_driver_array.add(gdstk.Reference(contact_7, (4.8225,43.04)))
wordline_driver_array.add(gdstk.Label('en', (0.415,21.5875), layer=13, texttype=0))
wordline_driver_array.add(gdstk.Label('in_0', (0.2325,0.495), layer=11, texttype=0))
wordline_driver_array.add(gdstk.Label('wl_0', (2.94,0.685), layer=11, texttype=0))
wordline_driver_array.add(gdstk.Label('in_1', (0.2325,2.33), layer=11, texttype=0))
wordline_driver_array.add(gdstk.Label('wl_1', (2.94,2.14), layer=11, texttype=0))
wordline_driver_array.add(gdstk.Label('in_2', (0.2325,3.185), layer=11, texttype=0))
wordline_driver_array.add(gdstk.Label('wl_2', (2.94,3.375), layer=11, texttype=0))
wordline_driver_array.add(gdstk.Label('in_3', (0.2325,5.02), layer=11, texttype=0))
wordline_driver_array.add(gdstk.Label('wl_3', (2.94,4.83), layer=11, texttype=0))
wordline_driver_array.add(gdstk.Label('in_4', (0.2325,5.875), layer=11, texttype=0))
wordline_driver_array.add(gdstk.Label('wl_4', (2.94,6.065), layer=11, texttype=0))
wordline_driver_array.add(gdstk.Label('in_5', (0.2325,7.71), layer=11, texttype=0))
wordline_driver_array.add(gdstk.Label('wl_5', (2.94,7.52), layer=11, texttype=0))
wordline_driver_array.add(gdstk.Label('in_6', (0.2325,8.565), layer=11, texttype=0))
wordline_driver_array.add(gdstk.Label('wl_6', (2.94,8.755), layer=11, texttype=0))
wordline_driver_array.add(gdstk.Label('in_7', (0.2325,10.4), layer=11, texttype=0))
wordline_driver_array.add(gdstk.Label('wl_7', (2.94,10.21), layer=11, texttype=0))
wordline_driver_array.add(gdstk.Label('in_8', (0.2325,11.255), layer=11, texttype=0))
wordline_driver_array.add(gdstk.Label('wl_8', (2.94,11.445), layer=11, texttype=0))
wordline_driver_array.add(gdstk.Label('in_9', (0.2325,13.09), layer=11, texttype=0))
wordline_driver_array.add(gdstk.Label('wl_9', (2.94,12.9), layer=11, texttype=0))
wordline_driver_array.add(gdstk.Label('in_10', (0.2325,13.945), layer=11, texttype=0))
wordline_driver_array.add(gdstk.Label('wl_10', (2.94,14.135), layer=11, texttype=0))
wordline_driver_array.add(gdstk.Label('in_11', (0.2325,15.78), layer=11, texttype=0))
wordline_driver_array.add(gdstk.Label('wl_11', (2.94,15.59), layer=11, texttype=0))
wordline_driver_array.add(gdstk.Label('in_12', (0.2325,16.635), layer=11, texttype=0))
wordline_driver_array.add(gdstk.Label('wl_12', (2.94,16.825), layer=11, texttype=0))
wordline_driver_array.add(gdstk.Label('in_13', (0.2325,18.47), layer=11, texttype=0))
wordline_driver_array.add(gdstk.Label('wl_13', (2.94,18.28), layer=11, texttype=0))
wordline_driver_array.add(gdstk.Label('in_14', (0.2325,19.325), layer=11, texttype=0))
wordline_driver_array.add(gdstk.Label('wl_14', (2.94,19.515), layer=11, texttype=0))
wordline_driver_array.add(gdstk.Label('in_15', (0.2325,21.16), layer=11, texttype=0))
wordline_driver_array.add(gdstk.Label('wl_15', (2.94,20.97), layer=11, texttype=0))
wordline_driver_array.add(gdstk.Label('in_16', (0.2325,22.015), layer=11, texttype=0))
wordline_driver_array.add(gdstk.Label('wl_16', (2.94,22.205), layer=11, texttype=0))
wordline_driver_array.add(gdstk.Label('in_17', (0.2325,23.85), layer=11, texttype=0))
wordline_driver_array.add(gdstk.Label('wl_17', (2.94,23.66), layer=11, texttype=0))
wordline_driver_array.add(gdstk.Label('in_18', (0.2325,24.705), layer=11, texttype=0))
wordline_driver_array.add(gdstk.Label('wl_18', (2.94,24.895), layer=11, texttype=0))
wordline_driver_array.add(gdstk.Label('in_19', (0.2325,26.54), layer=11, texttype=0))
wordline_driver_array.add(gdstk.Label('wl_19', (2.94,26.35), layer=11, texttype=0))
wordline_driver_array.add(gdstk.Label('in_20', (0.2325,27.395), layer=11, texttype=0))
wordline_driver_array.add(gdstk.Label('wl_20', (2.94,27.585), layer=11, texttype=0))
wordline_driver_array.add(gdstk.Label('in_21', (0.2325,29.23), layer=11, texttype=0))
wordline_driver_array.add(gdstk.Label('wl_21', (2.94,29.04), layer=11, texttype=0))
wordline_driver_array.add(gdstk.Label('in_22', (0.2325,30.085), layer=11, texttype=0))
wordline_driver_array.add(gdstk.Label('wl_22', (2.94,30.275), layer=11, texttype=0))
wordline_driver_array.add(gdstk.Label('in_23', (0.2325,31.92), layer=11, texttype=0))
wordline_driver_array.add(gdstk.Label('wl_23', (2.94,31.73), layer=11, texttype=0))
wordline_driver_array.add(gdstk.Label('in_24', (0.2325,32.775), layer=11, texttype=0))
wordline_driver_array.add(gdstk.Label('wl_24', (2.94,32.965), layer=11, texttype=0))
wordline_driver_array.add(gdstk.Label('in_25', (0.2325,34.61), layer=11, texttype=0))
wordline_driver_array.add(gdstk.Label('wl_25', (2.94,34.42), layer=11, texttype=0))
wordline_driver_array.add(gdstk.Label('in_26', (0.2325,35.465), layer=11, texttype=0))
wordline_driver_array.add(gdstk.Label('wl_26', (2.94,35.655), layer=11, texttype=0))
wordline_driver_array.add(gdstk.Label('in_27', (0.2325,37.3), layer=11, texttype=0))
wordline_driver_array.add(gdstk.Label('wl_27', (2.94,37.11), layer=11, texttype=0))
wordline_driver_array.add(gdstk.Label('in_28', (0.2325,38.155), layer=11, texttype=0))
wordline_driver_array.add(gdstk.Label('wl_28', (2.94,38.345), layer=11, texttype=0))
wordline_driver_array.add(gdstk.Label('in_29', (0.2325,39.99), layer=11, texttype=0))
wordline_driver_array.add(gdstk.Label('wl_29', (2.94,39.8), layer=11, texttype=0))
wordline_driver_array.add(gdstk.Label('in_30', (0.2325,40.845), layer=11, texttype=0))
wordline_driver_array.add(gdstk.Label('wl_30', (2.94,41.035), layer=11, texttype=0))
wordline_driver_array.add(gdstk.Label('in_31', (0.2325,42.68), layer=11, texttype=0))
wordline_driver_array.add(gdstk.Label('wl_31', (2.94,42.49), layer=11, texttype=0))
wordline_driver_array.add(gdstk.Label('vdd', (4.89,4.1025), layer=15, texttype=0))
wordline_driver_array.add(gdstk.Label('vdd', (4.89,14.8625), layer=15, texttype=0))
wordline_driver_array.add(gdstk.Label('vdd', (4.89,33.6925), layer=15, texttype=0))
wordline_driver_array.add(gdstk.Label('vdd', (4.89,39.0725), layer=15, texttype=0))
wordline_driver_array.add(gdstk.Label('vdd', (4.89,28.3125), layer=15, texttype=0))
wordline_driver_array.add(gdstk.Label('vdd', (4.89,17.5525), layer=15, texttype=0))
wordline_driver_array.add(gdstk.Label('vdd', (4.89,28.3125), layer=15, texttype=0))
wordline_driver_array.add(gdstk.Label('vdd', (4.89,20.2425), layer=15, texttype=0))
wordline_driver_array.add(gdstk.Label('vdd', (4.89,20.2425), layer=15, texttype=0))
wordline_driver_array.add(gdstk.Label('vdd', (4.89,9.4825), layer=15, texttype=0))
wordline_driver_array.add(gdstk.Label('vdd', (4.89,12.1725), layer=15, texttype=0))
wordline_driver_array.add(gdstk.Label('vdd', (4.89,31.0025), layer=15, texttype=0))
wordline_driver_array.add(gdstk.Label('vdd', (4.89,36.3825), layer=15, texttype=0))
wordline_driver_array.add(gdstk.Label('vdd', (4.89,41.7625), layer=15, texttype=0))
wordline_driver_array.add(gdstk.Label('vdd', (4.89,6.7925), layer=15, texttype=0))
wordline_driver_array.add(gdstk.Label('vdd', (4.89,6.7925), layer=15, texttype=0))
wordline_driver_array.add(gdstk.Label('vdd', (4.89,36.3825), layer=15, texttype=0))
wordline_driver_array.add(gdstk.Label('vdd', (4.89,25.6225), layer=15, texttype=0))
wordline_driver_array.add(gdstk.Label('vdd', (4.89,22.9325), layer=15, texttype=0))
wordline_driver_array.add(gdstk.Label('vdd', (4.89,1.4125), layer=15, texttype=0))
wordline_driver_array.add(gdstk.Label('gnd', (4.89,26.9675), layer=15, texttype=0))
wordline_driver_array.add(gdstk.Label('gnd', (4.89,29.6575), layer=15, texttype=0))
wordline_driver_array.add(gdstk.Label('gnd', (4.89,43.1075), layer=15, texttype=0))
wordline_driver_array.add(gdstk.Label('gnd', (4.89,40.4175), layer=15, texttype=0))
wordline_driver_array.add(gdstk.Label('gnd', (4.89,18.8975), layer=15, texttype=0))
wordline_driver_array.add(gdstk.Label('gnd', (4.89,5.4475), layer=15, texttype=0))
wordline_driver_array.add(gdstk.Label('gnd', (4.89,24.2775), layer=15, texttype=0))
wordline_driver_array.add(gdstk.Label('gnd', (4.89,10.8275), layer=15, texttype=0))
wordline_driver_array.add(gdstk.Label('gnd', (4.89,2.7575), layer=15, texttype=0))
wordline_driver_array.add(gdstk.Label('gnd', (4.89,16.2075), layer=15, texttype=0))
wordline_driver_array.add(gdstk.Label('gnd', (4.89,32.3475), layer=15, texttype=0))
wordline_driver_array.add(gdstk.Label('gnd', (4.89,35.0375), layer=15, texttype=0))
wordline_driver_array.add(gdstk.Label('gnd', (4.89,37.7275), layer=15, texttype=0))
wordline_driver_array.add(gdstk.Label('gnd', (4.89,13.5175), layer=15, texttype=0))
wordline_driver_array.add(gdstk.Label('gnd', (4.89,21.5875), layer=15, texttype=0))
wordline_driver_array.add(gdstk.Label('gnd', (4.89,0.0675), layer=15, texttype=0))
wordline_driver_array.add(gdstk.Label('gnd', (4.89,8.1375), layer=15, texttype=0))

lib.write_gds('wordline_driver_array.gds')
